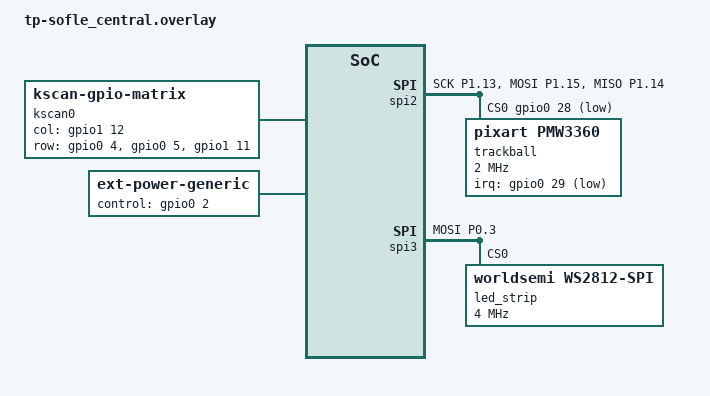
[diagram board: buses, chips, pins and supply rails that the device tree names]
/*
 * Central for the TPSofle, on a Seeed XIAO nRF52840 (seeeduino_xiao_ble).
 * Both halves are BLE peripherals; this board holds the keymap, talks to the host
 * and has the PMW3360 trackball plus three mouse buttons (left, middle, right).
 *
 * Standalone on purpose: tp-sofle.dtsi uses &pro_micro pins, which the XIAO does
 * not have, so only the shared layout is included here.
 *
 * XIAO pin map (Dn -> nRF pin):
 *   D0 P0.02  D1 P0.03  D2 P0.28  D3 P0.29  D4 P0.04  D5 P0.05
 *   D6 P1.11  D7 P1.12  D8 P1.13  D9 P1.14  D10 P1.15
 *
 * SPDX-License-Identifier: MIT
 */

#include <dt-bindings/zmk/matrix_transform.h>
#include <dt-bindings/led/led.h>
#include <input/processors.dtsi>
#include <dt-bindings/zmk/input_transform.h>
#include "tp-sofle-layouts.dtsi"

/ {
    chosen {
        zmk,kscan = &kscan0;
        zmk,physical-layout = &physical_layout0;
        zmk,underglow = &led_strip;
    };

    // Three mouse buttons as a 1-column x 3-row matrix, so no GND wire is needed:
    // each switch goes between its row pin and the shared column pin D7, which
    // the scan drives high. One column cannot ghost, so no diodes are needed.
    //   D4 (P0.04) left   D5 (P0.05) middle   D6 (P1.11) right   D7 (P1.12) column
    // Labelled kscan0 so the shared physical layout resolves to it.
    kscan0: kscan {
        compatible = "zmk,kscan-gpio-matrix";
        diode-direction = "col2row";
        col-gpios = <&gpio1 12 GPIO_ACTIVE_HIGH>;
        row-gpios
            = <&gpio0 4 (GPIO_ACTIVE_HIGH | GPIO_PULL_DOWN)>
            , <&gpio0 5 (GPIO_ACTIVE_HIGH | GPIO_PULL_DOWN)>
            , <&gpio1 11 (GPIO_ACTIVE_HIGH | GPIO_PULL_DOWN)>
            ;
    };

    // The encoders are on the halves; the central only needs the sensor list so
    // the keymap's sensor-bindings line up with the forwarded encoder events.
    left_encoder: encoder_left {
        compatible = "alps,ec11";
        a-gpios = <&gpio0 2 (GPIO_ACTIVE_HIGH | GPIO_PULL_UP)>;
        b-gpios = <&gpio0 3 (GPIO_ACTIVE_HIGH | GPIO_PULL_UP)>;
        steps = <80>;
        status = "disabled";
    };

    right_encoder: encoder_right {
        compatible = "alps,ec11";
        a-gpios = <&gpio0 3 (GPIO_ACTIVE_HIGH | GPIO_PULL_UP)>;
        b-gpios = <&gpio0 2 (GPIO_ACTIVE_HIGH | GPIO_PULL_UP)>;
        steps = <80>;
        status = "disabled";
    };

    // Placeholder external-power switch on D0 (P0.02). The keymap's &ext_power
    // key runs here and is forwarded to the halves, where it switches the real
    // nice!nano VCC output; the XIAO has no switchable power of its own.
    ext-power {
        compatible = "zmk,ext-power-generic";
        control-gpios = <&gpio0 2 GPIO_ACTIVE_HIGH>;
    };

};

// The central's matrix rows 0-2 map to transform rows 5-7 (positions 60-62),
// clear of the halves' keys.
&default_transform0 {
    row-offset = <5>;
};

/ {
    sensors: sensors {
        compatible = "zmk,keymap-sensors";
        sensors = <&left_encoder &right_encoder>;
        triggers-per-rotation = <20>;
    };
};

/*
 * PMW3360 trackball on SPI2 (the XIAO's default SPI pins):
 *   SCK D8 (P1.13), MISO D9 (P1.14), MOSI D10 (P1.15), CS D2 (P0.28), MOTION/IRQ D3 (P0.29)
 */
&pinctrl {
    spi2_trackball_default: spi2_trackball_default {
        group1 {
            psels = <NRF_PSEL(SPIM_SCK, 1, 13)>,
                <NRF_PSEL(SPIM_MOSI, 1, 15)>,
                <NRF_PSEL(SPIM_MISO, 1, 14)>;
        };
    };

    spi2_trackball_sleep: spi2_trackball_sleep {
        group1 {
            psels = <NRF_PSEL(SPIM_SCK, 1, 13)>,
                <NRF_PSEL(SPIM_MOSI, 1, 15)>,
                <NRF_PSEL(SPIM_MISO, 1, 14)>;
            low-power-enable;
        };
    };

    // Placeholder LED data pin, see &spi3 below.
    spi3_led_default: spi3_led_default {
        group1 {
            psels = <NRF_PSEL(SPIM_MOSI, 0, 3)>;
        };
    };

    spi3_led_sleep: spi3_led_sleep {
        group1 {
            psels = <NRF_PSEL(SPIM_MOSI, 0, 3)>;
            low-power-enable;
        };
    };
};

&spi2 {
    status = "okay";
    compatible = "nordic,nrf-spim";
    pinctrl-0 = <&spi2_trackball_default>;
    pinctrl-1 = <&spi2_trackball_sleep>;
    pinctrl-names = "default", "sleep";
    cs-gpios = <&gpio0 28 GPIO_ACTIVE_LOW>;

    trackball: trackball@0 {
        status = "okay";
        compatible = "pixart,pmw3360";
        reg = <0>;
        spi-max-frequency = <2000000>;
        irq-gpios = <&gpio0 29 (GPIO_ACTIVE_LOW | GPIO_PULL_UP)>;
    };
};

/*
 * Placeholder 1-LED strip on D1 (P0.03). The keymap's &rgb_ug keys run on the
 * central and are forwarded to the halves, so the central needs the underglow
 * driver even though it has no LEDs of its own.
 */
&spi3 {
    compatible = "nordic,nrf-spim";
    status = "okay";
    pinctrl-0 = <&spi3_led_default>;
    pinctrl-1 = <&spi3_led_sleep>;
    pinctrl-names = "default", "sleep";

    led_strip: ws2812@0 {
        compatible = "worldsemi,ws2812-spi";
        reg = <0>;
        spi-max-frequency = <4000000>;
        chain-length = <1>;
        spi-one-frame = <0x70>;
        spi-zero-frame = <0x40>;
        color-mapping = <
            LED_COLOR_ID_GREEN
            LED_COLOR_ID_RED
            LED_COLOR_ID_BLUE
        >;
    };
};

// Auto-mouse layer (4) deactivation: by default ANY keypress drops the temp
// layer. Exclude all thumb positions (50-59), as on the Charybdis, so the mouse
// buttons (left thumbs), LOWER and RAISE never drop it -- only the main
// (non-thumb) keys deactivate the layer. The XIAO mouse buttons (60-62) are
// excluded too, so clicking keeps the layer.
&zip_temp_layer {
    excluded-positions = <50 51 52 53 54 55 56 57 58 59 60 61 62>;
};

/ {
  trackball_listener {
    compatible = "zmk,input-listener";
    device = <&trackball>;

    // Both axes inverted (up <-> down, left <-> right), then activate the
    // MOUSE_KEYS layer (index 4) for 1000ms on trackball movement (as on the
    // Charybdis). The overrides below replace these processors, so each one
    // carries its own inversion.
    input-processors = <&zip_xy_transform (INPUT_TRANSFORM_X_INVERT | INPUT_TRANSFORM_Y_INVERT)>, <&zip_temp_layer 4 1000>;

    // On the LOWER layer (index 1), trackball movement scrolls instead of moving
    // the cursor, at 50% speed. Both scroll directions are flipped like the
    // cursor: X inverted, and Y left raw (the old Y_INVERT flipped back).
    scroller {
        layers = <1>;
        input-processors = <&zip_xy_transform (INPUT_TRANSFORM_X_INVERT)>, <&zip_xy_scaler 1 2>, <&zip_xy_to_scroll_mapper>;
    };

    // Slow plain cursor movement to 60% (x3/5), as on the Charybdis. Targets the
    // auto MOUSE_KEYS layer (4), which is active during normal pointing. Placed
    // after the scroller so LOWER matches first and scrolling is untouched.
    // zip_temp_layer is repeated so continued movement keeps re-arming the 1s
    // timeout (an override REPLACES the default processors); keep it in sync.
    slow_cursor {
        layers = <4>;
        input-processors = <&zip_xy_transform (INPUT_TRANSFORM_X_INVERT | INPUT_TRANSFORM_Y_INVERT)>, <&zip_temp_layer 4 1000>, <&zip_xy_scaler 3 5>;
    };
  };
};
